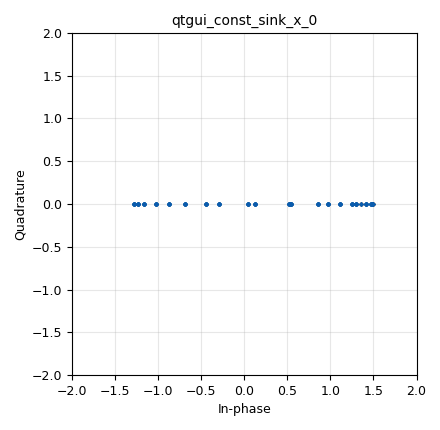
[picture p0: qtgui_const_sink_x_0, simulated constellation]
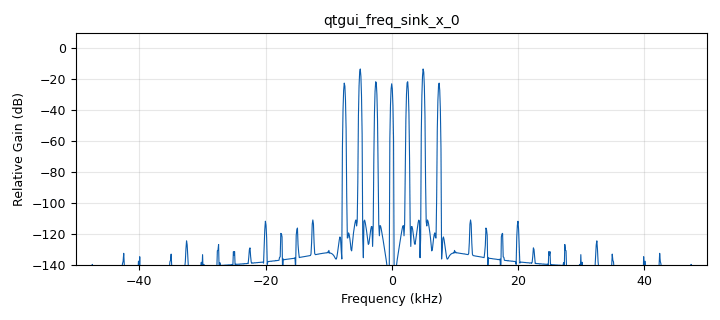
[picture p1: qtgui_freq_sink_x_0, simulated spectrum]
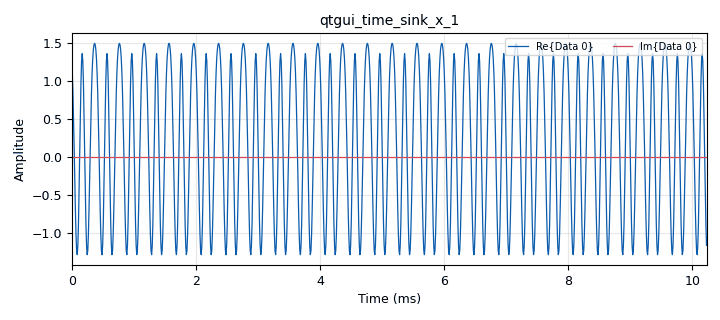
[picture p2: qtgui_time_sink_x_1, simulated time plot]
options:
  parameters:
    author: wcc
    generate_options: qt_gui
    id: lab1_bpsk_mod
    output_language: python
    title: lab1_bpsk_mod
  states: {}

blocks:
- name: BPSK
  id: variable_constellation
  parameters:
    const_points: '[-1, 1]'
    dims: '1'
    precision: '8'
    rot_sym: '4'
    sym_map: '[0, 1]'
    type: calcdist
  states: {}
- name: samp_rate
  id: variable
  parameters:
    value: '100000'
  states: {}
- name: sps
  id: variable
  parameters:
    value: '8'
  states: {}
- name: blocks_throttle_0
  id: blocks_throttle
  parameters:
    samples_per_second: samp_rate
    type: byte
  states: {}
- name: blocks_unpacked_to_packed_xx_0
  id: blocks_unpacked_to_packed_xx
  parameters:
    bits_per_chunk: '1'
    endianness: gr.GR_MSB_FIRST
    type: byte
  states: {}
- name: blocks_vector_source_x_0_0_0
  id: blocks_vector_source_x
  parameters:
    repeat: 'True'
    type: byte
    vector: '[1, 0, 1, 1,0]'
  states: {}
- name: digital_constellation_modulator_0
  id: digital_constellation_modulator
  parameters:
    constellation: BPSK
    differential: 'False'
    excess_bw: '0.35'
    samples_per_symbol: sps
  states: {}
- name: qtgui_const_sink_x_0
  id: qtgui_const_sink_x
  parameters:
    size: '1024'
    type: complex
  states: {}
- name: qtgui_freq_sink_x_0
  id: qtgui_freq_sink_x
  parameters:
    bw: samp_rate
    fc: '0'
    fftsize: '1024'
    type: complex
    wintype: firdes.WIN_BLACKMAN_hARRIS
  states: {}
- name: qtgui_time_sink_x_1
  id: qtgui_time_sink_x
  parameters:
    autoscale: 'True'
    size: '1024'
    srate: samp_rate
    type: complex
  states: {}

connections:
- [blocks_throttle_0, '0', digital_constellation_modulator_0, '0']
- [blocks_unpacked_to_packed_xx_0, '0', blocks_throttle_0, '0']
- [blocks_vector_source_x_0_0_0, '0', blocks_unpacked_to_packed_xx_0, '0']
- [digital_constellation_modulator_0, '0', qtgui_const_sink_x_0, '0']
- [digital_constellation_modulator_0, '0', qtgui_freq_sink_x_0, '0']
- [digital_constellation_modulator_0, '0', qtgui_time_sink_x_1, '0']

metadata:
  file_format: 1
